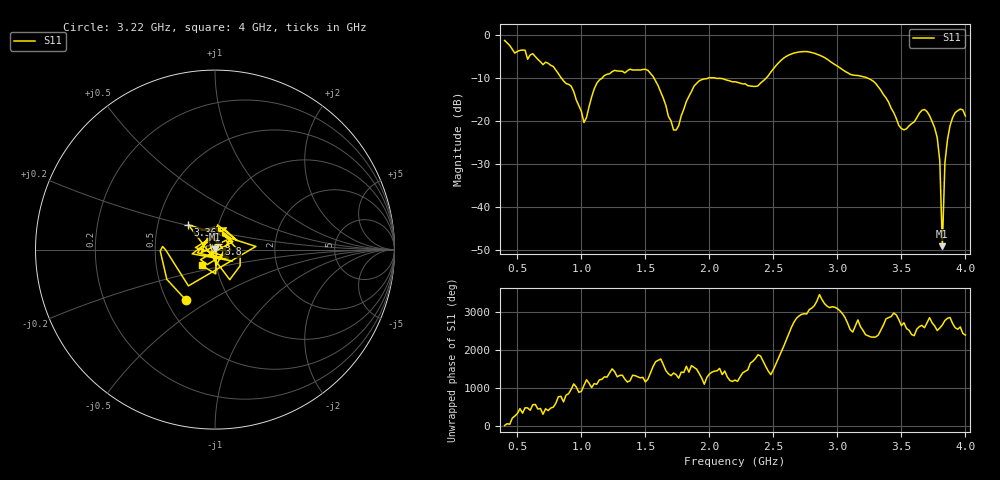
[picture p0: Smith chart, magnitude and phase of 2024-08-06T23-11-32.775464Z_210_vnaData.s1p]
!Created with skrf (http://scikit-rf.org).
# Hz S RI R 50.0
!freq ReS11 ImS11
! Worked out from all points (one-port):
!   181 points, 400 MHz to 4 GHz, reference 50 ohm
!   lowest |S11| = -49.1 dB at 3.82 GHz (marker M1), VSWR 1.01, Z = 49.8 + j0.25 ohm
!   |S11| at or under -10 dB: 1.568 GHz to 1.988 GHz (419.9 MHz wide, 23.6 % of centre); 2.054 GHz to 2.443 GHz (388.7 MHz wide, 17.3 % of centre); 3.238 GHz to end of sweep (the widest 3 of 4)
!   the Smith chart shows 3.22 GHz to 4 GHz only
!   S11 on the Smith chart (normalised r, x): 3.22 GHz: 0.63, -0.40; 3.36 GHz: 0.72, +0.21; 3.8 GHz: 1.04, +0.06; 4 GHz: 0.85, -0.15
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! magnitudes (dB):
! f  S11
! 400 MHz  -1.2
! 860 MHz  -10.6
! 920 MHz  -11.8
! 1.02 GHz  -20.3
! 1.12 GHz  -11.2
! 1.3 GHz  -8.3
! 1.52 GHz  -8.2
! 1.6 GHz  -11.8
! 1.72 GHz  -22.0
! 1.76 GHz  -21.1
! 1.92 GHz  -10.6
! 2.2 GHz  -10.8
! 2.38 GHz  -11.8
! 2.66 GHz  -4.1
! 2.84 GHz  -4.4
! 3.1 GHz  -9.1
! 3.22 GHz  -9.8
! 3.36 GHz  -13.8
! 3.48 GHz  -21.0
! 3.56 GHz  -21.1
! 3.7 GHz  -17.8
! 3.76 GHz  -21.6
! 3.8 GHz  -29.2
! 3.82 GHz  -49.1
! 3.84 GHz  -29.7
! 3.86 GHz  -24.3
! 3.92 GHz  -18.0
! 4 GHz  -18.8
